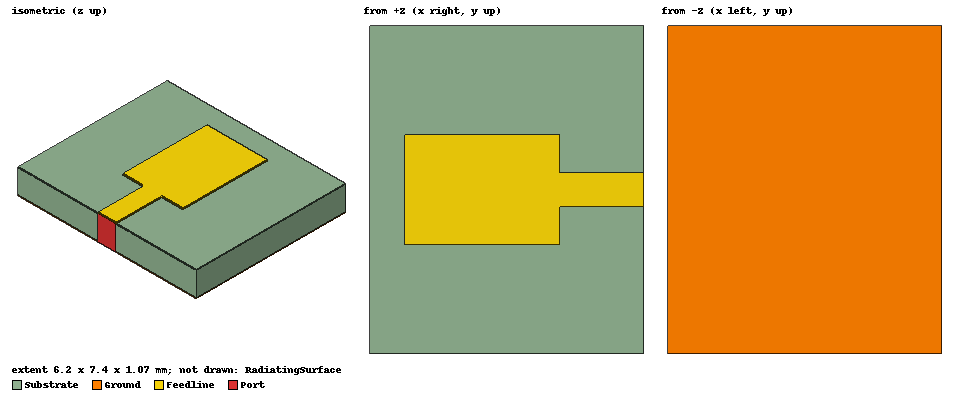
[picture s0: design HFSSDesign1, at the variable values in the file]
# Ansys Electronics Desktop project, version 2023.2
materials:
  vacuum: permittivity=1
  copper: permeability=0.999991 conductivity=58000000
  FR4_epoxy: permittivity=4.4 dielectric_loss_tangent=0.02

design HFSSDesign1 (HFSS, HFSS Terminal Network, model units mm)
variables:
  Ls = 6.2mm
  Ws = 7.4mm
  Hp = 0.035mm
  Hs = 1mm
  A = 0.8mm
  Wp = 2.5mm
  Lp = 3.5mm
  Wf = 0.75mm
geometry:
  Ground [copper] = box(corner=(0mm, 0mm, 0mm), size=(Ls, Ws, Hp))
  Substrate [FR4_epoxy] = box(corner=(0mm, 0mm, 0.035mm), size=(Ls, Ws, Hs))
  Patch = box(corner=(A, Ws/2-Wp/2, Hp+Hs), size=(Lp, Wp, Hp))
  Feedline [copper] = box(corner=(A+Lp, Ws/2-Wf/2, Hp+Hs), size=(Ls-A-Lp, Wf, Hp))
  Feedline.unite(Patch)
  Port = rectangle(corner=(Ls, Ws/2-Wf/2, (Hp+Hs)), y_size=Wf, z_size=-(Hp+Hs))
  RadiatingSurface [vacuum] = region(absolute_offset=2.6315789mm on all sides)
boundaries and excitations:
  Open1: Radiation Objects=RadiatingSurface
  Port_T1: Terminal port=1 Edges=Feedline.edge(at (6.2, 3.7, 1.035)) TerminalResistance=50ohm
  1: Lumped Port Faces=Port.face LumpedPortType=Terminal Impedance=50ohm
  reference conductors: Ground
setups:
  n78: HfssDriven Frequency=3.5GHz MaxDeltaS=0.02 MaximumPasses=10 MinimumPasses=1 MinimumConvergedPasses=1 PercentRefinement=30 BasisOrder=1 PortAccuracy=2 DrivenSolverType="Direct Solver"
    sweep Sweep: 3.3GHz to 3.8GHz, 401 points; Type=Fast SaveFields
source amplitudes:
  1:1: 1V 0deg
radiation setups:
  3D: Infinite Sphere Theta=0deg..180deg step 2deg Phi=-180deg..180deg step 2deg
  Elevation: Infinite Sphere Theta=-180deg..180deg step 1deg Phi=0deg..90deg step 90deg
  Azimuth: Infinite Sphere Theta=90deg..90deg step 0deg Phi=-180deg..180deg step 1deg
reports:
  Terminal VSWR Table 1: VSWRt(Port_T1) vs Freq on n78 : LastAdaptive
  Gain Table 1: GainTotal vs Theta on n78 : LastAdaptive, 3D [Phi=all Freq=3.5GHz]
  System Gain Table 1: SystemGainTotal vs Theta on n78 : LastAdaptive, 3D [Phi=all Freq=3.5GHz]
  Directivity Table 1: DirTotal vs Theta on n78 : LastAdaptive, 3D [Phi=all Freq=3.5GHz]
  Polarization Ratio Table 1: PolarizationRatioCircularLHCP vs Theta on n78 : LastAdaptive, 3D [Phi=all Freq=3.5GHz]
  Realized Gain Table 1: RealizedGainTotal vs Theta on n78 : LastAdaptive, 3D [Phi=all Freq=3.5GHz]
  Axial Ratio Table 1: AxialRatioValue vs Theta on n78 : LastAdaptive, 3D [Phi=all Freq=3.5GHz]
  Gain Plot 1: GainTotal vs Phi, Theta on n78 : LastAdaptive, 3D [Freq=3.5GHz]
  Axial Ratio Plot 1: mag(AxialRatioValue) vs Phi, Theta on n78 : LastAdaptive, 3D [Freq=3.5GHz]
  Terminal VSWR Table 2: VSWRt(Port_T1) vs Freq on n78 : Sweep
  Terminal VSWR Plot 1: VSWRt(Port_T1) vs Freq on n78 : Sweep
  Terminal VSWR Plot 2: VSWRt(Port_T1) vs Freq, Ls on n78 : Sweep
